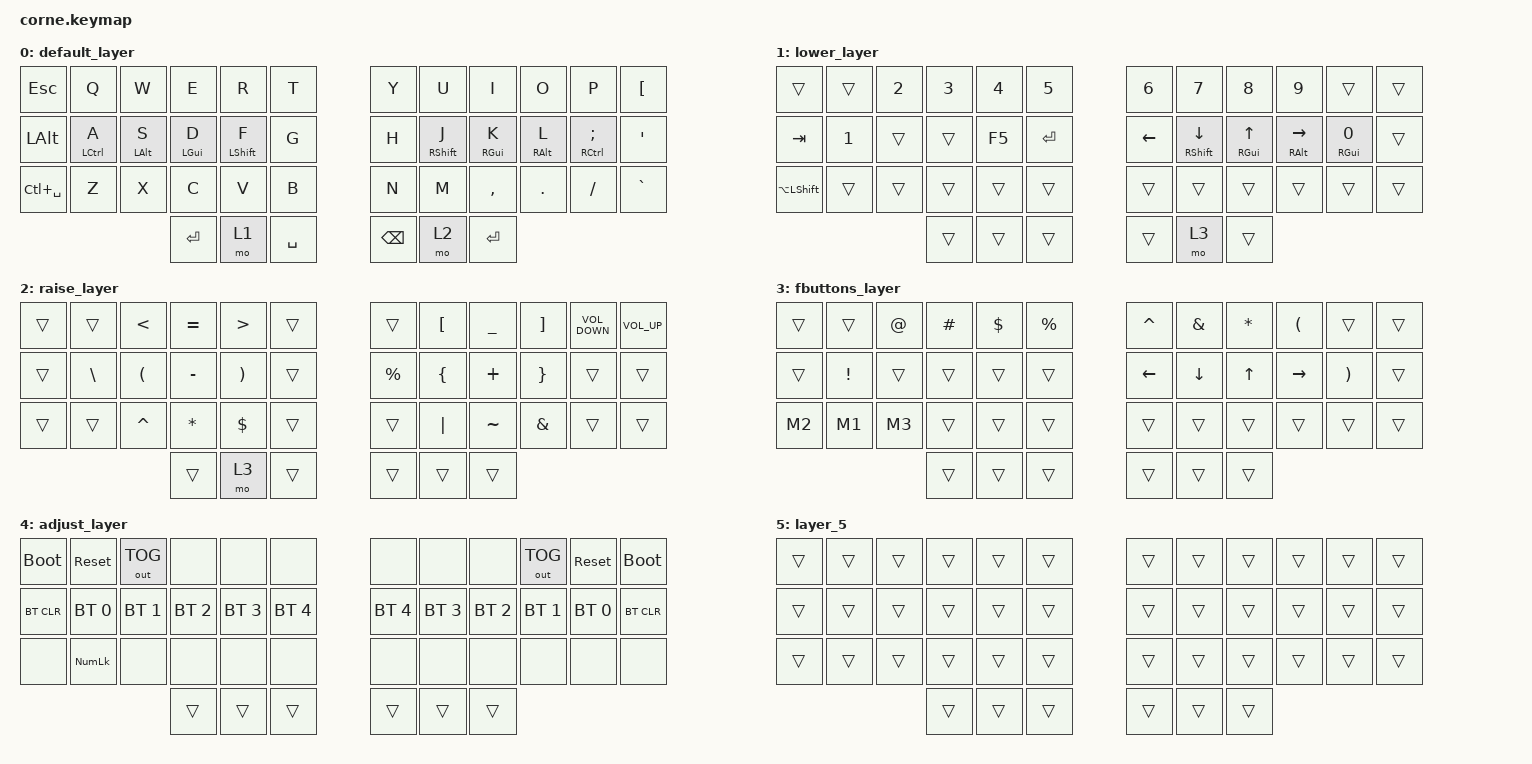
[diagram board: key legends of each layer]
/*
 * Copyright (c) 2020 The ZMK Contributors
 *
 * SPDX-License-Identifier: MIT
 */

#include <behaviors.dtsi>
#include <dt-bindings/zmk/bt.h>
#include <dt-bindings/zmk/keys.h>
#include <dt-bindings/zmk/outputs.h>

&lt { quick_tap_ms = <219>; };

&mt { quick_tap_ms = <219>; };

/ {
    behaviors {
        tdF: tap_dance_lang1 {
            compatible = "zmk,behavior-tap-dance";
            #binding-cells = <0>;
            tapping-term-ms = <100>;
            bindings = <&kp F>, <&kp LG(F11)>;
        };

        tdJ: tap_dance_lang2 {
            compatible = "zmk,behavior-tap-dance";
            #binding-cells = <0>;
            tapping-term-ms = <100>;
            bindings = <&kp J>, <&kp LG(F12)>;
        };

        lh_pht: left_positional_hold_tap {
            compatible = "zmk,behavior-hold-tap";
            #binding-cells = <2>;
            flavor = "tap-unless-interrupted";
            tapping-term-ms = <100>;                        // <---[[produces tap if held longer than tapping-term-ms]]
            quick-tap-ms = <200>;
            bindings = <&kp>, <&kp>;

            hold-trigger-key-positions = <0 1 2 3 4 5>;    // <---[[right-hand keys]]
        };

        HMR: HMR {
            compatible = "zmk,behavior-hold-tap";
            label = "HMR";
            bindings = <&kp>, <&kp>;

            #binding-cells = <2>;
            flavor = "tap-preferred";
            tapping-term-ms = <220>;
            quick-tap-ms = <250>;
        };

        HML: HML {
            compatible = "zmk,behavior-hold-tap";
            label = "HML";
            bindings = <&kp>, <&kp>;

            #binding-cells = <2>;
            flavor = "tap-preferred";
            tapping-term-ms = <220>;
            quick-tap-ms = <250>;
        };

        HMRS: HMRS {
            compatible = "zmk,behavior-hold-tap";
            label = "HMRS";
            bindings = <&kp>, <&kp>;

            #binding-cells = <2>;
            flavor = "tap-preferred";
            tapping-term-ms = <220>;
            quick-tap-ms = <250>;
        };

        HMLS: HMLS {
            compatible = "zmk,behavior-hold-tap";
            label = "HMLS";
            bindings = <&kp>, <&kp>;

            #binding-cells = <2>;
            flavor = "tap-preferred";
            tapping-term-ms = <220>;
            quick-tap-ms = <250>;
        };
    };

    combos {
        compatible = "zmk,combos";

        ParaLeft {
            bindings = <&kp LEFT_PARENTHESIS>;
            key-positions = <4 5>;
            timeout-ms = <20>;
        };

        ParaRight {
            bindings = <&kp RIGHT_PARENTHESIS>;
            key-positions = <6 7>;
            timeout-ms = <20>;
        };

        BrakLeft {
            bindings = <&kp LEFT_BRACKET>;
            key-positions = <16 17>;
            timeout-ms = <20>;
        };

        BrakRight {
            bindings = <&kp RIGHT_BRACKET>;
            key-positions = <18 19>;
            timeout-ms = <20>;
        };

        BraceLeft {
            bindings = <&kp LEFT_BRACE>;
            key-positions = <28 29>;
            timeout-ms = <20>;
        };

        BraceRight {
            bindings = <&kp RIGHT_BRACE>;
            key-positions = <30 31>;
            timeout-ms = <20>;
        };

        DoubleQuote {
            bindings = <&kp DOUBLE_QUOTES>;
            key-positions = <15 16>;
            timeout-ms = <20>;
        };

        SingleQuote {
            bindings = <&kp APOSTROPHE>;
            key-positions = <19 20>;
            timeout-ms = <20>;
        };

        //LangRu {
        //    bindings = <&kp LG(F11)>;
        //    key-positions = <0 1>;
        //    timeout-ms = <20>;
        //};
        //LangUs {
        //   bindings = <&kp LG(F12)>;
        //    key-positions = <10 11>;
        //    timeout-ms = <20>;
        //};
        //LangRuL {
        //    bindings = <&kp LG(F11)>;
        //    key-positions = <36 38>;
        //    timeout-ms = <20>;
        //};
        //LangUsL {
        //    bindings = <&kp LG(F12)>;
        //    key-positions = <39 41>;
        //    timeout-ms = <20>;
        //};

        TildaSign {
            bindings = <&kp TILDE>;
            key-positions = <0 12>;
            timeout-ms = <20>;
        };

        GraveSign {
            bindings = <&kp GRAVE>;
            key-positions = <12 24>;
            timeout-ms = <20>;
        };

        MinusSign {
            bindings = <&kp MINUS>;
            key-positions = <3 4>;
            timeout-ms = <20>;
        };

        PlusSign {
            bindings = <&kp PLUS>;
            key-positions = <2 3>;
            timeout-ms = <20>;
        };

        UnderscoreSign {
            bindings = <&kp UNDERSCORE>;
            key-positions = <7 8>;
            timeout-ms = <20>;
        };

        SaveFile {
            bindings = <&kp LG(S)>;
            key-positions = <14 15>;
            timeout-ms = <30>;
        };

        PipeSign {
            bindings = <&kp PIPE>;
            key-positions = <8 9>;
            timeout-ms = <20>;
        };

        Mainbootloaderleft {
            bindings = <&bootloader>;
            key-positions = <0 4>;
            timeout-ms = <20>;
        };

        Mainbootloaderright {
            bindings = <&bootloader>;
            key-positions = <7 11>;
            timeout-ms = <20>;
        };
    };
};

/ {
    macros {
        M1: M1 {
            compatible = "zmk,behavior-macro";
            #binding-cells = <0>;
            bindings = <&kp LC(SPACE) &kp Q &kp N2 &kp U &kp N8 &kp A &kp N5 &kp N &kp N2 &kp T>;
            label = "M1";
        };

        M2: M2 {
            compatible = "zmk,behavior-macro";
            #binding-cells = <0>;
            bindings = <&none &kp LS(B) &kp LS(L) &kp T &kp LS(T) &kp K &kp J &kp N5 &kp N1 &kp LS(X) &kp V &kp N1 &kp N1>;
            label = "M2";
        };

        M3: M3 {
            compatible = "zmk,behavior-macro";
            #binding-cells = <0>;
            bindings = <&none &kp Q &kp U &kp C &kp M &kp U &kp M &kp MINUS &kp H &kp I &kp C &kp W &kp O &kp D &kp MINUS &kp N3 &kp R &kp LS(E) &kp W &kp H &kp E>;
            label = "M3";
        };
    };

    keymap {
        compatible = "zmk,keymap";

        default_layer {
            bindings = <
&kp ESC        &kp Q         &kp W            &kp E            &kp R               &kp T        &kp Y          &kp U                &kp I             &kp O             &kp P                 &kp LEFT_BRACKET
&kp LEFT_ALT   &HML LCTRL A  &HML LEFT_ALT S  &HML LEFT_GUI D  &HMLS LEFT_SHIFT F  &kp G        &kp H          &HMRS RIGHT_SHIFT J  &HMR RIGHT_GUI K  &HMR RIGHT_ALT L  &HMR RCTRL SEMICOLON  &kp SINGLE_QUOTE
&kp LC(SPACE)  &kp Z         &kp X            &kp C            &kp V               &kp B        &kp N          &kp M                &kp COMMA         &kp DOT           &kp FSLH              &kp GRAVE
                                              &kp ENTER        &mo 1               &kp SPACE    &kp BACKSPACE  &mo 2                &kp ENTER
            >;
        };

        lower_layer {
            bindings = <
&trans              &trans        &kp N2  &kp N3  &kp N4  &kp N5       &kp N6    &kp N7                  &kp N8                   &kp N9                &trans             &trans
&kp TAB             &kp NUMBER_1  &trans  &trans  &kp F5  &kp ENTER    &kp LEFT  &HMRS RIGHT_SHIFT DOWN  &HMR RIGHT_GUI UP_ARROW  &HMR RIGHT_ALT RIGHT  &HMR RIGHT_GUI N0  &trans
&kp LA(LEFT_SHIFT)  &trans        &trans  &trans  &trans  &trans       &trans    &trans                  &trans                   &trans                &trans             &trans
                                          &trans  &trans  &trans       &trans    &mo 3                   &trans
            >;
        };

        raise_layer {
            bindings = <
&trans  &trans         &kp LESS_THAN         &kp EQUAL     &kp GREATER_THAN       &trans    &trans       &kp LEFT_BRACKET  &kp UNDERSCORE  &kp RIGHT_BRACKET  &kp C_VOLUME_DOWN  &kp C_VOLUME_UP
&trans  &kp BACKSLASH  &kp LEFT_PARENTHESIS  &kp MINUS     &kp RIGHT_PARENTHESIS  &trans    &kp PERCENT  &kp LEFT_BRACE    &kp PLUS        &kp RIGHT_BRACE    &trans             &trans
&trans  &trans         &kp CARET             &kp ASTERISK  &kp DOLLAR             &trans    &trans       &kp PIPE          &kp TILDE       &kp AMPERSAND      &trans             &trans
                                             &trans        &mo 3                  &trans    &trans       &trans            &trans
            >;
        };

        fbuttons_layer {
            bindings = <
&trans  &trans           &kp AT_SIGN  &kp HASH  &kp DOLLAR  &kp PERCENT    &kp CARET       &kp AMPERSAND   &kp ASTERISK  &kp LEFT_PARENTHESIS  &trans                 &trans
&trans  &kp EXCLAMATION  &trans       &trans    &trans      &trans         &kp LEFT_ARROW  &kp DOWN_ARROW  &kp UP_ARROW  &kp RIGHT_ARROW       &kp RIGHT_PARENTHESIS  &trans
&M2     &M1              &M3          &trans    &trans      &trans         &trans          &trans          &trans        &trans                &trans                 &trans
                                      &trans    &trans      &trans         &trans          &trans          &trans
            >;
        };

        adjust_layer {
            bindings = <
&bootloader  &sys_reset    &out OUT_TOG  &none         &none         &none           &none         &none         &none         &out OUT_TOG  &sys_reset    &bootloader
&bt BT_CLR   &bt BT_SEL 0  &bt BT_SEL 1  &bt BT_SEL 2  &bt BT_SEL 3  &bt BT_SEL 4    &bt BT_SEL 4  &bt BT_SEL 3  &bt BT_SEL 2  &bt BT_SEL 1  &bt BT_SEL 0  &bt BT_CLR
&none        &kp KP_NUM    &none         &none         &none         &none           &none         &none         &none         &none         &none         &none
                                         &trans        &trans        &trans          &trans        &trans        &trans
            >;
        };

        layer_5 {
            bindings = <
&trans  &trans  &trans  &trans  &trans  &trans    &trans  &trans  &trans  &trans  &trans  &trans
&trans  &trans  &trans  &trans  &trans  &trans    &trans  &trans  &trans  &trans  &trans  &trans
&trans  &trans  &trans  &trans  &trans  &trans    &trans  &trans  &trans  &trans  &trans  &trans
                        &trans  &trans  &trans    &trans  &trans  &trans
            >;
        };
    };
};
